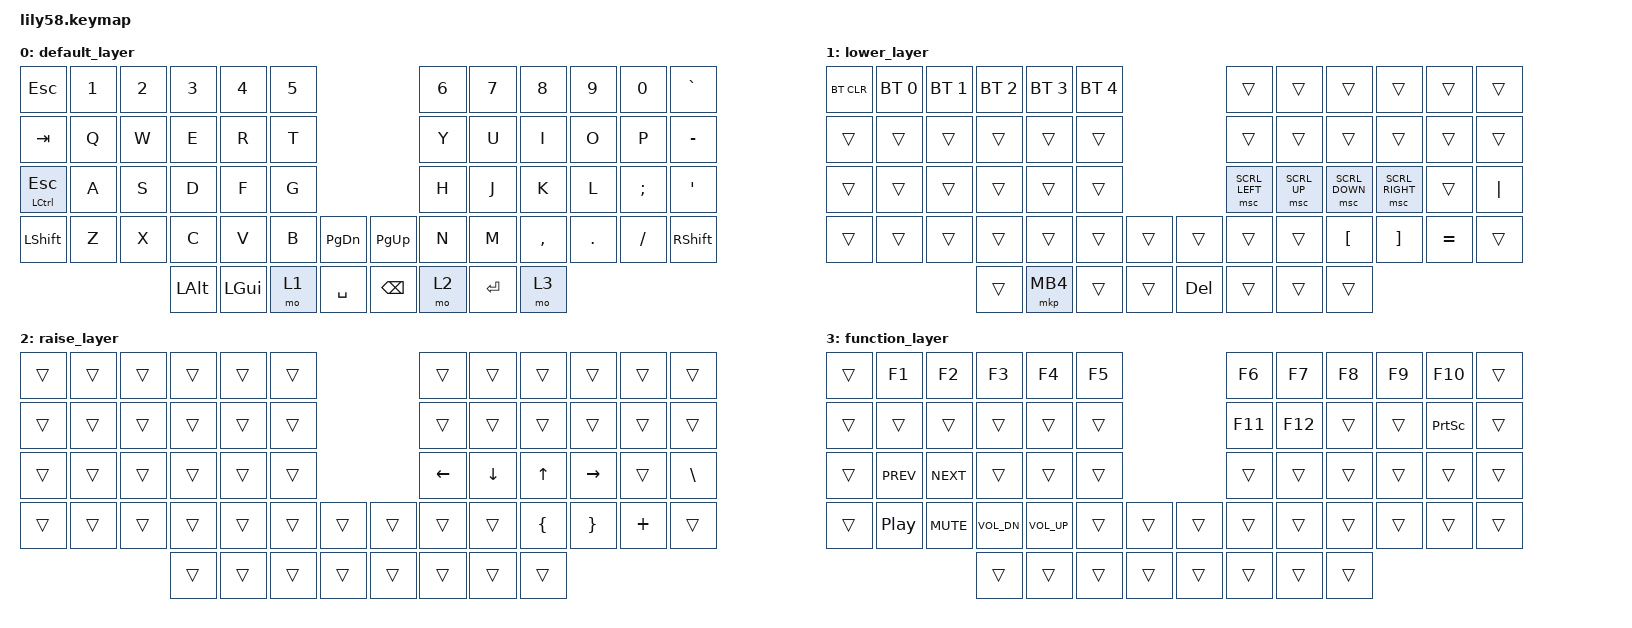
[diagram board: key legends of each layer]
/*
 * Copyright (c) 2020 The ZMK Contributors
 *
 * SPDX-License-Identifier: MIT
 */

#include <behaviors.dtsi>
#include <dt-bindings/zmk/keys.h>
#include <dt-bindings/zmk/bt.h>
#include <dt-bindings/zmk/ext_power.h>
#include <dt-bindings/zmk/pointing.h>

/ {
    keymap {
        compatible = "zmk,keymap";

        default_layer {
// -------------------------------------------------------------------------------------------------------------
// |   ESC    |  1  |  2  |   3   |   4   |   5   |                  |   6   |  7   |  8   |  9   |   0   |   `   |
// |   TAB    |  Q  |  W  |   E   |   R   |   T   |                  |   Y   |  U   |  I   |  O   |   P   |   -   |
// | CTRL/ESC |  A  |  S  |   D   |   F   |   G   |                  |   H   |  J   |  K   |  L   |   ;   |   '   |
// |  SHIFT   |  Z  |  X  |   C   |   V   |   B   | PG_DN |  | PG_UP |   N   |  M   |  ,   |  .   |   /   | SHIFT |
//                        |  ALT  |  GUI  | LOWER | SPACE |  | ENTER | RAISE | BSPC |  FN  |
            bindings = <
&kp ESC        &kp N1  &kp N2  &kp N3    &kp N4    &kp N5                        &kp N6  &kp N7   &kp N8     &kp N9   &kp N0    &kp GRAVE
&kp TAB        &kp Q   &kp W   &kp E     &kp R     &kp T                         &kp Y   &kp U    &kp I      &kp O    &kp P     &kp MINUS
&mt LCTRL ESC  &kp A   &kp S   &kp D     &kp F     &kp G                         &kp H   &kp J    &kp K      &kp L    &kp SEMI  &kp SQT
&kp LSHFT      &kp Z   &kp X   &kp C     &kp V     &kp B   &kp PG_DN  &kp PG_UP  &kp N   &kp M    &kp COMMA  &kp DOT  &kp FSLH  &kp RSHFT
                               &kp LALT  &kp LGUI  &mo 1   &kp SPACE  &kp BSPC   &mo 2   &kp RET  &mo 3
            >;
        };

        lower_layer {
// ------------------------------------------------------------------------------------------------------------------
// | BTCLR |  BT1  |  BT2  |  BT3  |  BT4  |  BT5  |                  |           |         |           |            |       |       |
// |       |       |       |       |       |       |                  |           |         |           |            |       |       |
// |       |       |       |       |       |       |                  | SCRL_LEFT | SCRL_UP | SCRL_DOWN | SCRL_RIGHT |       |  "|"  |
// |       |       |       |       |       |       |       |  |       |           |         |     [     |      ]     |   =   |       |
//                         |       |  MB4  |       |       |  |  DEL  |           |         |           |
            bindings = <
&bt BT_CLR  &bt BT_SEL 0  &bt BT_SEL 1  &bt BT_SEL 2  &bt BT_SEL 3  &bt BT_SEL 4                    &trans           &trans           &trans          &trans             &trans     &trans
&trans      &trans        &trans        &trans        &trans        &trans                          &trans           &trans           &trans          &trans             &trans     &trans
&trans      &trans        &trans        &trans        &trans        &trans                          &msc SCRL_LEFT   &msc SCRL_UP     &msc SCRL_DOWN  &msc SCRL_RIGHT    &trans     &kp PIPE
&trans      &trans        &trans        &trans        &trans        &trans        &trans   &trans   &trans           &trans           &kp LBKT        &kp RBKT           &kp EQUAL  &trans
                                        &trans        &mkp MB4      &trans        &trans   &kp DEL  &trans           &trans           &trans
            >;
        };

        raise_layer {
// ------------------------------------------------------------------------------------------------------------
// |      |      |      |      |      |      |                  |      |       |       |      |       |       |
// |      |      |      |      |      |      |                  |      |       |       |      |       |       |
// |      |      |      |      |      |      |                  |  <-  |   v   |   ^   |  ->  |       |   \   |
// |      |      |      |      |      |      |       |  |       |      |       |   {   |  }   |   +   |       |
//                      |      |      |      |       |  |       |      |       |       |
            bindings = <
&trans   &trans   &trans   &trans   &trans   &trans                     &trans    &trans    &trans    &trans     &trans    &trans
&trans   &trans   &trans   &trans   &trans   &trans                     &trans    &trans    &trans    &trans     &trans    &trans
&trans   &trans   &trans   &trans   &trans   &trans                     &kp LEFT  &kp DOWN  &kp UP    &kp RIGHT  &trans    &kp BSLH
&trans   &trans   &trans   &trans   &trans   &trans   &trans   &trans   &trans    &trans    &kp LBRC  &kp RBRC   &kp PLUS  &trans
                           &trans   &trans   &trans   &trans   &trans   &trans    &trans    &trans
            >;
        };

        function_layer {
// ------------------------------------------------------------------------------------------------------------
// |      |  F1  |  F2  |  F3  |  F4  |  F5  |                  |  F6   |  F7   |  F8  |  F9  |  F10  |       |
// |      |      |      |      |      |      |                  |  F11  |  F12  |      |      | PSCRN |       |
// |      | PREV | NEXT |      |      |      |                  |       |       |      |      |       |       |
// |      | PLAY | MUTE | VOL- | VOL+ |      |       |  |       |       |       |      |      |       |       |
//                      |      |      |      |       |  |       |       |       |      |
            bindings = <
&trans   &kp F1      &kp F2      &kp F3        &kp F4        &kp F5                     &kp F6   &kp F7   &kp F8   &kp F9   &kp F10    &trans
&trans   &trans      &trans      &trans        &trans        &trans                     &kp F11  &kp F12  &trans   &trans   &kp PSCRN  &trans
&trans   &kp C_PREV  &kp C_NEXT  &trans        &trans        &trans                     &trans   &trans   &trans   &trans   &trans     &trans
&trans   &kp C_PP    &kp C_MUTE  &kp C_VOL_DN  &kp C_VOL_UP  &trans   &trans   &trans   &trans   &trans   &trans   &trans   &trans     &trans
                                 &trans        &trans        &trans   &trans   &trans   &trans   &trans   &trans
            >;
        };
    };
};
